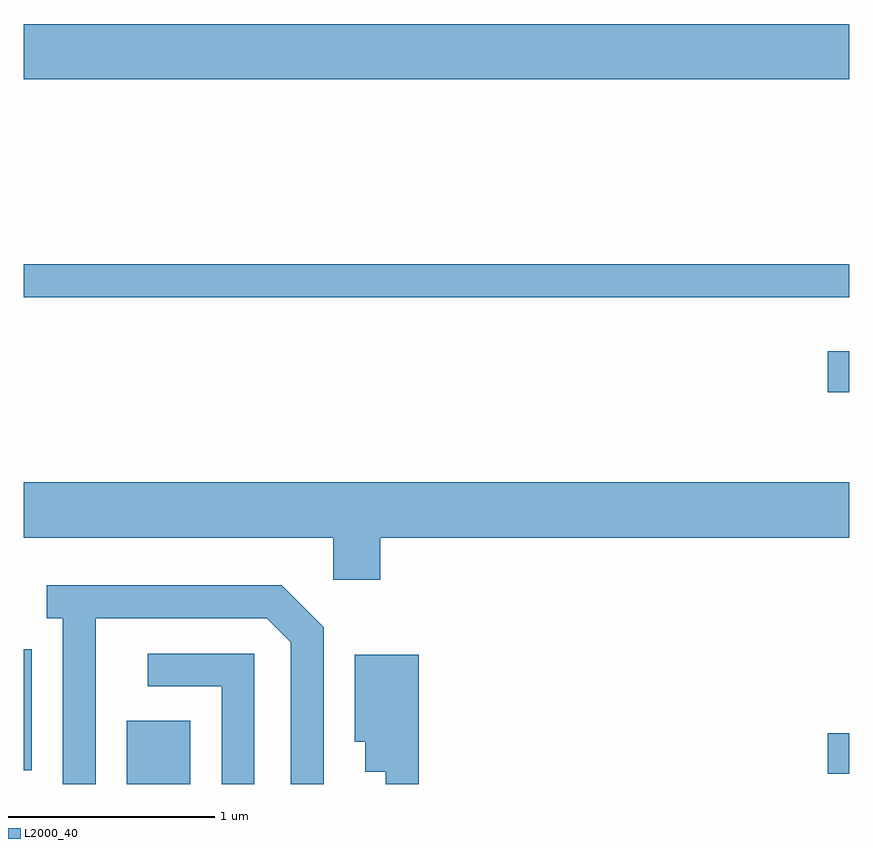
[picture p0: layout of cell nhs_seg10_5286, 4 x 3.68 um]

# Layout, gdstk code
import gdstk
lib = gdstk.Library(unit=1e-6, precision=1e-09)
def R(c, l, rs):  # rectangles x0, y0, x1, y1
    for r in rs: c.add(gdstk.rectangle(r[:2], r[2:], *l))
def P(c, l, *ps):  # polygons
    for p in ps: c.add(gdstk.Polygon(p, *l))
L2000_40 = (2000, 40)

nhs_seg10_5286 = lib.new_cell('nhs_seg10_5286')
R(nhs_seg10_5286, L2000_40, [(342.111,2090.522,342.419,2090.829), (345.506,2090.571,345.611,2090.769), (341.611,2090.588,341.649,2091.174), (345.506,2092.421,345.611,2092.619), (341.611,2092.881,345.611,2093.039), (341.611,2093.936,345.611,2094.204)])
P(nhs_seg10_5286, L2000_40, [(341.611,2091.716),(343.111,2091.716),(343.111,2091.511),(343.339,2091.511),(343.339,2091.716),(345.611,2091.716),(345.611,2091.984),(341.611,2091.984)],
  [(341.959,2091.326),(342.789,2091.326),(342.906,2091.209),(342.906,2090.522),(343.064,2090.522),(343.064,2091.282),(342.862,2091.484),(341.723,2091.484),(341.723,2091.326),(341.801,2091.326),(341.801,2090.522),(341.959,2090.522)],
  [(342.729,2091.154),(342.213,2091.154),(342.213,2090.996),(342.571,2090.996),(342.571,2090.522),(342.729,2090.522)],
  [(343.524,2091.149),(343.216,2091.149),(343.216,2090.726),(343.266,2090.726),(343.266,2090.581),(343.366,2090.581),(343.366,2090.522),(343.524,2090.522)])

lib.write_gds('nhs_seg10_5286.gds')
